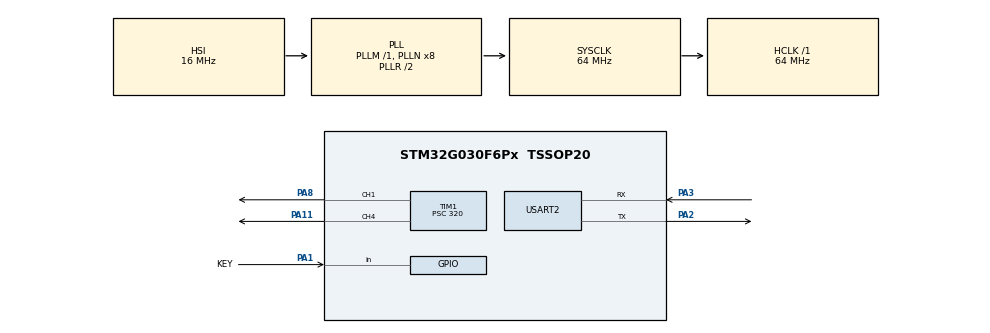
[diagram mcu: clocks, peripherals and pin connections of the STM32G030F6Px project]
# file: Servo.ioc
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Mcu.Family=STM32G0
Mcu.Name=STM32G030F6Px
Mcu.Package=TSSOP20
NVIC.USART2_IRQn=true\:0\:0\:false\:false\:true\:true\:true\:true
PA1.GPIO_Label=KEY
PA1.Signal=GPIO_Input
PA11\ [PA9].Signal=S_TIM1_CH4
PA13.Mode=Serial_Wire
PA13.Signal=SYS_SWDIO
PA14-BOOT0.Mode=Serial_Wire
PA14-BOOT0.Signal=SYS_SWCLK
PA14-BOOT0__PA15.StandardMode=true
PA2.Mode=Asynchronous
PA2.Signal=USART2_TX
PA3.Mode=Asynchronous
PA3.Signal=USART2_RX
PA8.Signal=S_TIM1_CH1
PB0__PB1__PB2__PA8.StandardMode=true
PB3__PB4__PB5__PB6.StandardMode=true
PB7__PB8.StandardMode=true
PC14-OSC32_IN\ (PC14)__PB9.StandardMode=true
ProjectManager.HeapSize=0x200
ProjectManager.StackSize=0x400
ProjectManager.TargetToolchain=MDK-ARM V5.32
RCC.ADCFreq_Value=64000000
RCC.AHBFreq_Value=64000000
RCC.CortexFreq_Value=64000000
RCC.EXTERNAL_CLOCK_VALUE=12288000
RCC.HCLKFreq_Value=64000000
RCC.HSE_VALUE=8000000
RCC.HSI_VALUE=16000000
RCC.LSE_VALUE=32768
RCC.SYSCLKFreq_VALUE=64000000
RCC.SYSCLKSource=RCC_SYSCLKSOURCE_PLLCLK
RCC.VCOOutputFreq_Value=128000000
SH.S_TIM1_CH1.0=TIM1_CH1,PWM Generation1 CH1
SH.S_TIM1_CH4.0=TIM1_CH4,PWM Generation4 CH4
TIM1.AutoReloadPreload=TIM_AUTORELOAD_PRELOAD_ENABLE
TIM1.Channel-PWM\ Generation1\ CH1=TIM_CHANNEL_1
TIM1.Channel-PWM\ Generation4\ CH4=TIM_CHANNEL_4
TIM1.Period=19999
TIM1.Prescaler=320
USART2.VirtualMode-Asynchronous=VM_ASYNC
VP_TIM1_VS_ClockSourceINT.Mode=Internal
board=custom

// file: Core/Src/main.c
/* USER CODE BEGIN Header */
/**
 ******************************************************************************
 * @file           : main.c
 * @brief          : Main program body
 ******************************************************************************
 * @attention
 *
 * Copyright (c) 2026 STMicroelectronics.
 * All rights reserved.
 *
 * This software is licensed under terms that can be found in the LICENSE file
 * in the root directory of this software component.
 * If no LICENSE file comes with this software, it is provided AS-IS.
 *
 ******************************************************************************
 */
/* USER CODE END Header */
#include "main.h"
#include "tim.h"
#include "usart.h"
#include "gpio.h"

/* USER CODE BEGIN PV */
volatile uint8_t  rx_flag = 0;
volatile uint16_t rx_len  = 0;
/* USER CODE END PV */

void SystemClock_Config(void);

int main(void)
{

  /* MCU Configuration--------------------------------------------------------*/

  /* Reset of all peripherals, Initializes the Flash interface and the Systick. */
  HAL_Init();

  /* Configure the system clock */
  SystemClock_Config();

  /* Initialize all configured peripherals */
  MX_GPIO_Init();
  MX_TIM1_Init();
  MX_USART2_UART_Init();
  /* USER CODE BEGIN 2 */
  HAL_TIM_PWM_Start(&htim1, TIM_CHANNEL_1);
  HAL_TIM_PWM_Start(&htim1, TIM_CHANNEL_4);
  __HAL_TIM_SetCompare(&htim1, TIM_CHANNEL_1, 300);
  __HAL_TIM_SetCompare(&htim1, TIM_CHANNEL_4, 300);
  /* USER CODE END 2 */

  /* Infinite loop */
  /* USER CODE BEGIN WHILE */
  uint8_t  rec[20] = {0};
  uint16_t yaw = 0, pitch = 0;
  uint16_t S1 = 300, S2 = 300;
  uint8_t  q = 0;
  HAL_UARTEx_ReceiveToIdle_IT(&huart2, rec, sizeof(rec));
  while (1)
  {
    if (rx_flag)
    {
      rx_flag = 0;
      /* 遍历本次空闲中断收到的所有字节 */
      for (uint16_t i = 0; i < rx_len; i++)
      {
        uint8_t byte = rec[i];
        if (byte == 0xa5 && q == 5)
        {

          yaw   = ((uint16_t)rec[i - 4] << 8) | rec[i - 3];
          pitch = ((uint16_t)rec[i - 2] << 8) | rec[i - 1];

          q = 0;
        }
        else if (byte == 0x0a)
        {
          q = 1;
        }
        else if (q > 0)
        {
          q++;
        }
        if (q >= 20)
        {
          q = 0;
        }
      }
      /* 重新启动空闲中断接收 */
      HAL_UARTEx_ReceiveToIdle_IT(&huart2, rec, sizeof(rec));
    }
    S1 = (uint16_t)((float)yaw/65535.0f*400.0f)+100;
    S2 = (uint16_t)((float)pitch/65535.0f*400.0f)+100;
    __HAL_TIM_SetCompare(&htim1, TIM_CHANNEL_1, S1);
    __HAL_TIM_SetCompare(&htim1, TIM_CHANNEL_4, S2);
    /* USER CODE END WHILE */

  }
}

void SystemClock_Config(void)
{
  RCC_OscInitTypeDef RCC_OscInitStruct = {0};
  RCC_ClkInitTypeDef RCC_ClkInitStruct = {0};

  /** Configure the main internal regulator output voltage
  */
  HAL_PWREx_ControlVoltageScaling(PWR_REGULATOR_VOLTAGE_SCALE1);

  /** Initializes the RCC Oscillators according to the specified parameters
  * in the RCC_OscInitTypeDef structure.
  */
  RCC_OscInitStruct.OscillatorType = RCC_OSCILLATORTYPE_HSI;
  RCC_OscInitStruct.HSIState = RCC_HSI_ON;
  RCC_OscInitStruct.HSIDiv = RCC_HSI_DIV1;
  RCC_OscInitStruct.HSICalibrationValue = RCC_HSICALIBRATION_DEFAULT;
  RCC_OscInitStruct.PLL.PLLState = RCC_PLL_ON;
  RCC_OscInitStruct.PLL.PLLSource = RCC_PLLSOURCE_HSI;
  RCC_OscInitStruct.PLL.PLLM = RCC_PLLM_DIV1;
  RCC_OscInitStruct.PLL.PLLN = 8;
  RCC_OscInitStruct.PLL.PLLP = RCC_PLLP_DIV2;
  RCC_OscInitStruct.PLL.PLLR = RCC_PLLR_DIV2;
  if (HAL_RCC_OscConfig(&RCC_OscInitStruct) != HAL_OK)
  {
    Error_Handler();
  }

  /** Initializes the CPU, AHB and APB buses clocks
  */
  RCC_ClkInitStruct.ClockType = RCC_CLOCKTYPE_HCLK|RCC_CLOCKTYPE_SYSCLK
                              |RCC_CLOCKTYPE_PCLK1;
  RCC_ClkInitStruct.SYSCLKSource = RCC_SYSCLKSOURCE_PLLCLK;
  RCC_ClkInitStruct.AHBCLKDivider = RCC_SYSCLK_DIV1;
  RCC_ClkInitStruct.APB1CLKDivider = RCC_HCLK_DIV1;

  if (HAL_RCC_ClockConfig(&RCC_ClkInitStruct, FLASH_LATENCY_2) != HAL_OK)
  {
    Error_Handler();
  }
}

/* USER CODE BEGIN 4 */
void HAL_UARTEx_RxEventCallback(UART_HandleTypeDef *huart, uint16_t Size)
{
  if (huart == &huart2)
  {
    rx_len  = Size;
    rx_flag = 1;
  }
}
/* USER CODE END 4 */

void Error_Handler(void)
{
  __disable_irq();
  while (1)
  {
  }
}
